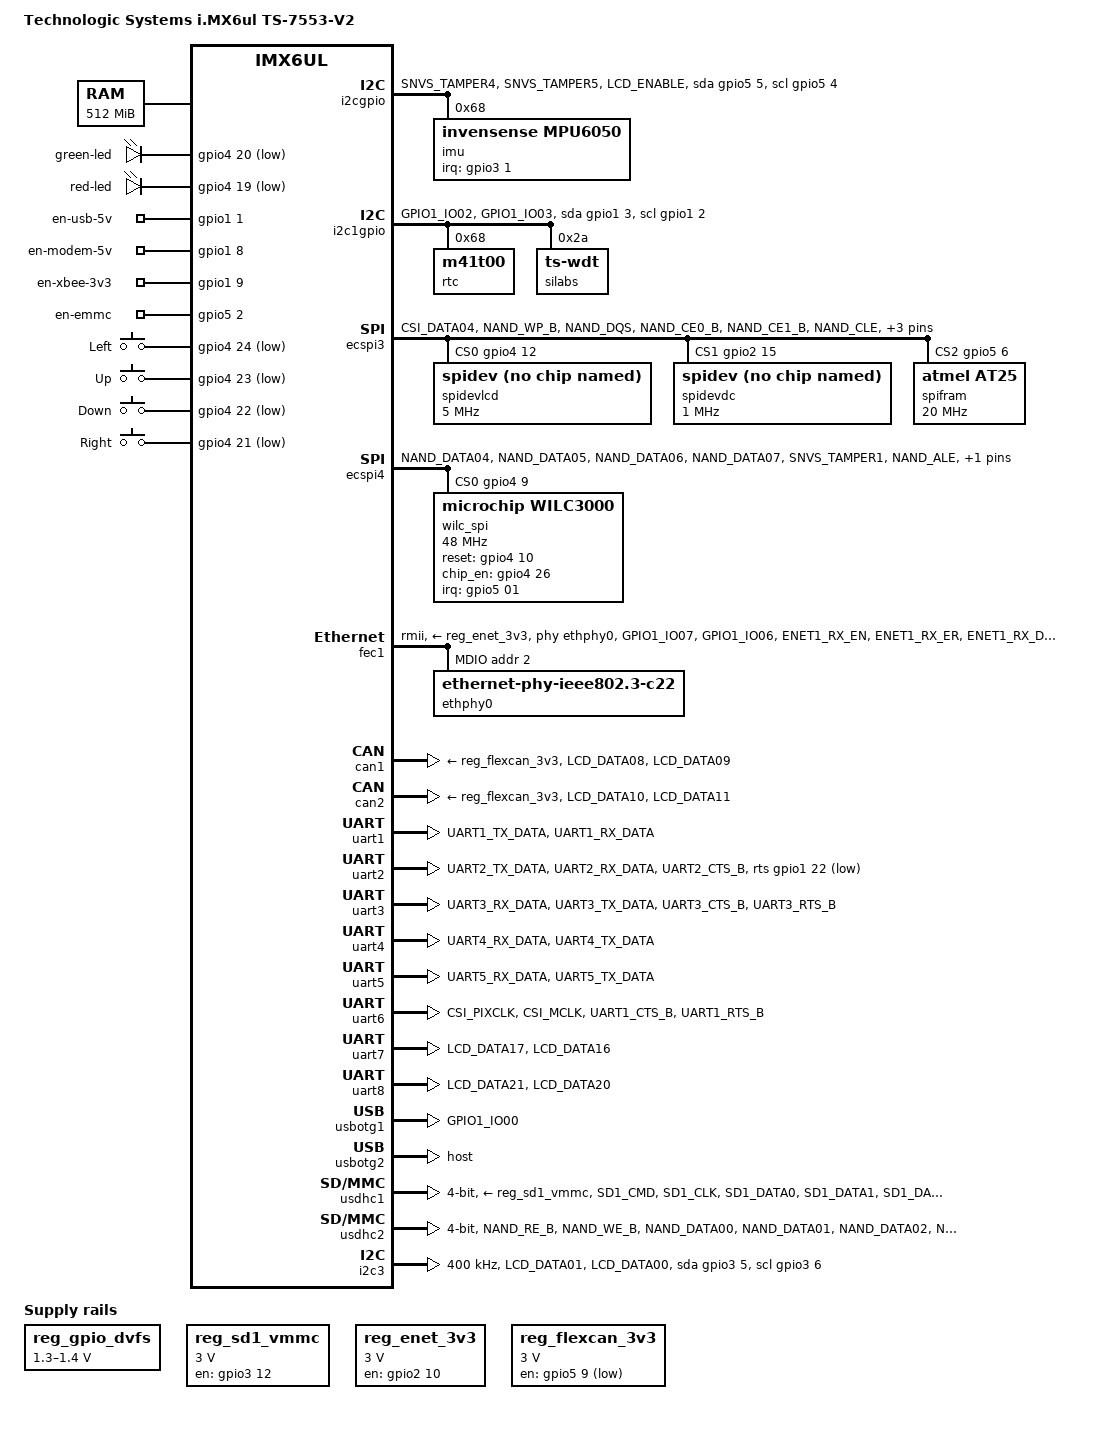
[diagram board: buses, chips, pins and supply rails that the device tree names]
/*
 * Copyright (C) 2017 Technologic Systems
 *
 * This program is free software; you can redistribute it and/or modify
 * it under the terms of the GNU General Public License version 2 as
 * published by the Free Software Foundation.
 */

/dts-v1/;
#include <dt-bindings/input/input.h>
#include "imx6ul.dtsi"

/ {
	model = "Technologic Systems i.MX6ul TS-7553-V2";
	compatible = "technologic,ts7553v2", "fsl,imx6ul";

	chosen {
		stdout-path = &uart1;
	};

	memory {
		reg = <0x80000000 0x20000000>;
	};

	leds {
		pinctrl-names = "default";
		pinctrl-0 = <&pinctrl_gpio_leds>;
		compatible = "gpio-leds";

		green-led {
			label = "green-led";
			gpios = <&gpio4 20 GPIO_ACTIVE_LOW>;
			default-state = "on";
		};

		red-led {
			label = "red-led";
			gpios = <&gpio4 19 GPIO_ACTIVE_LOW>;
			default-state = "off";
		};

		/* The following are meant to be userspace controlled IO. The
		 * kernel does not allow setting default state of GPIO, but
		 * the default state of LEDs can be set, which is why the LED
		 * subsystem is used.
		 */
		en-usb-5v {
			label = "en-usb-5v";
			gpios = <&gpio1 1 GPIO_ACTIVE_HIGH>;
			default-state = "on";
		};

		en-modem-5v {
			label = "en-modem-5v";
			gpios = <&gpio1 8 GPIO_ACTIVE_HIGH>;
			default-state = "off";
		};

		en-xbee-3v3 {
			label = "en-xbee-3v3";
			gpios = <&gpio1 9 GPIO_ACTIVE_HIGH>;
			default-state = "off";
		};

		en-emmc {
			label = "en-emmc";
			gpios = <&gpio5 2 GPIO_ACTIVE_HIGH>;
			default-state = "on";
		};
	};

	gpio-keys {
		compatible = "gpio-keys";

		left {
			label = "Left";
			gpios = <&gpio4 24 GPIO_ACTIVE_LOW>;
			linux,code = <KEY_LEFT>;
			debounce-interval = <20>;
			gpio-key,wakeup;
		};

		up {
			label = "Up";
			gpios = <&gpio4 23 GPIO_ACTIVE_LOW>;
			linux,code = <KEY_UP>;
			debounce-interval = <20>;
			gpio-key,wakeup;
		};
		down {
			label = "Down";
			gpios = <&gpio4 22 GPIO_ACTIVE_LOW>;
			linux,code = <KEY_DOWN>;
			debounce-interval = <20>;
			gpio-key,wakeup;
		};
		right {
			label = "Right";
			gpios = <&gpio4 21 GPIO_ACTIVE_LOW>;
			linux,code = <KEY_RIGHT>;
			debounce-interval = <20>;
			gpio-key,wakeup;
		};
	};

	reserved-memory {
		#address-cells = <1>;
		#size-cells = <1>;
		ranges;

		linux,cma {
			compatible = "shared-dma-pool";
			reusable;
			size = <0x14000000>;
			linux,cma-default;
		};
	};

	aliases {
		ethernet0 = &fec1;
		i2c3 = &i2cgpio;
		i2c0 = &i2c1gpio;
	};

	pxp_v4l2 {
		compatible = "fsl,imx6ul-pxp-v4l2", "fsl,imx6sx-pxp-v4l2", "fsl,imx6sl-pxp-v4l2";
		status = "disabled";
	};

	regulators {
		compatible = "simple-bus";
		#address-cells = <1>;
		#size-cells = <0>;

		reg_gpio_dvfs: regulator-gpio {
			compatible = "regulator-gpio";
			pinctrl-names = "default";
			pinctrl-0 = <&pinctrl_dvfs>;
			regulator-min-microvolt = <1300000>;
			regulator-max-microvolt = <1400000>;
			regulator-name = "gpio_dvfs";
			regulator-type = "voltage";
			gpios = <&gpio5 3 GPIO_ACTIVE_HIGH>;
			states = <1300000 0x1 1400000 0x0>;
		};

		reg_sd1_vmmc: sd1_vmmc {
			compatible = "regulator-fixed";
			regulator-name = "SD1_SPWR";
			regulator-min-microvolt = <3000000>;
			regulator-max-microvolt = <3000000>;
			gpio = <&gpio3 12 GPIO_ACTIVE_HIGH>;
			enable-active-high;
		};

		reg_enet_3v3: regulator-phy@0 {
			compatible = "regulator-fixed";
			pinctrl-names = "default";
			pinctrl-0 = <&pinctrl_enet_3v3>;
			regulator-name = "enet_3v3";
			regulator-min-microvolt = <3000000>;
			regulator-max-microvolt = <3000000>;
			gpio = <&gpio2 10 GPIO_ACTIVE_HIGH>;
			enable-active-high;
		};

		reg_flexcan_3v3: en-can@0 {
			compatible = "regulator-fixed";
			pinctrl-names = "default";
			pinctrl-0 = <&pinctrl_flexcan_3v3>;
			regulator-name = "en-can";
			regulator-min-microvolt = <3000000>;
			regulator-max-microvolt = <3000000>;
			gpio = <&gpio5 9 GPIO_ACTIVE_LOW>;
		};
	};

	i2cgpio: i2cgpio {
		compatible = "i2c-gpio";
		pinctrl-names = "default";
		pinctrl-0 = <&pinctrl_i2cgpio>;
		gpios = <&gpio5 5 GPIO_ACTIVE_HIGH>, /* sda */
			<&gpio5 4 GPIO_ACTIVE_HIGH>; /* scl */
		i2c-gpio,delay-us = <2>; /* 100khz*/
		#address-cells = <1>;
		#size-cells = <0>;
		status = "okay";

		imu: mpu9250a@68 {
			compatible = "invensense,mpu6050";
			reg = <0x68>;
			interrupt-parent = <&gpio3>;
			interrupts = <1 IRQ_TYPE_EDGE_RISING>;
		};

	};

	i2c1gpio: i2c1gpio {
		compatible = "i2c-gpio";
		pinctrl-names = "default";
		pinctrl-0 = <&pinctrl_i2c1_gpio>;
		gpios = <&gpio1 3 GPIO_ACTIVE_HIGH>, /* sda */
			<&gpio1 2 GPIO_ACTIVE_HIGH>; /* scl */
		#address-cells = <1>;
		#size-cells = <0>;

		status = "okay";

		rtc: m41t00s@68 {
			compatible = "m41t00";
			reg = <0x68>;
		};

		silabs: silabs@2a {
			compatible = "ts-wdt";
			reg = <0x2a>;
		};
	};
};

&cpu0 {
	arm-supply = <&reg_arm>;
	soc-supply = <&reg_soc>;
	dc-supply = <&reg_gpio_dvfs>;
};

&ecspi3 {
	fsl,spi-num-chipselects = <3>;
	cs-gpios = <&gpio4 12 0>, <&gpio2 15 0>, <&gpio5 6 0>;
	pinctrl-names = "default";
	pinctrl-0 = <&pinctrl_ecspi3>;
	status = "okay";

	spidevlcd: spi@0 {
		compatible = "spidev";
		reg = <0>;
		spi-max-frequency = <5000000>;
	};

	spidevdc: spi@1 {
		compatible = "spidev";
		reg = <1>;
		spi-max-frequency = <1000000>;
	};

	spifram: spi@2 {
		compatible = "atmel,at25", "cypress,fm25l16b";
		reg = <2>;
		spi-max-frequency = <20000000>;
		size = <0x800>;
		address-width = <16>;
		pagesize = <64>;
	};
};

&ecspi4 {
	fsl,spi-num-chipselects = <1>;
	cs-gpios = <&gpio4 9 0>;
	pinctrl-names = "default";
	pinctrl-0 = <&pinctrl_ecspi4>;
	status = "okay";

	wilc_spi@0 {
		compatible = "microchip,wilc3000";
		reg = <0>;
		spi-max-frequency = <48000000>;
		reset-gpios = <&gpio4 10 0>;     /* RESET,  GPIO 106 */
		chip_en-gpios = <&gpio4 26 0>;   /* ENABLE, GPIO 122 */
		irq-gpios = <&gpio5 01 0>;       /* IRQ,    GPIO 129 */
		status = "okay";
	};
};

&fec1 {
	pinctrl-names = "default";
	pinctrl-0 = <&pinctrl_enet>;
	phy-mode = "rmii";
	phy-handle = <&ethphy0>;
	phy-supply = <&reg_enet_3v3>;
	phy-reset-gpios = <&gpio1 4 GPIO_ACTIVE_LOW>;
	phy-reset-duration = <10>; 
	status = "okay";
	mdio {
		#address-cells = <1>;
		#size-cells = <0>;

		ethphy0: ethernet-phy@1 {
			compatible = "ethernet-phy-ieee802.3-c22";
			reg = <2>;
		};
	};
};

&can1 {
	pinctrl-names = "default";
	pinctrl-0 = <&pinctrl_flexcan1>;
	xceiver-supply = <&reg_flexcan_3v3>;
	status = "okay";
};

&can2 {
	pinctrl-names = "default";
	pinctrl-0 = <&pinctrl_flexcan2>;
	xceiver-supply = <&reg_flexcan_3v3>;
	status = "okay";
};

&gpc {
	fsl,cpu_pupscr_sw2iso = <0x1>;
	fsl,cpu_pupscr_sw = <0x0>;
	fsl,cpu_pdnscr_iso2sw = <0x1>;
	fsl,cpu_pdnscr_iso = <0x1>;
	fsl,ldo-bypass = <0>; /* DCDC, ldo-enable */
};

&uart1 {
	pinctrl-names = "default";
	pinctrl-0 = <&pinctrl_uart1>;
	status = "okay";
};

&uart2 {
	pinctrl-names = "default";
	pinctrl-0 = <&pinctrl_uart2>;
	status = "okay";

	uart-has-rtscts;
	rts-gpios = <&gpio1 22 GPIO_ACTIVE_LOW>;
	linux,rs485-enabled-at-boot-time;
};

&uart3 {
	pinctrl-names = "default";
	pinctrl-0 = <&pinctrl_uart3>;
	status = "okay";
	fsl,uart-has-rtscts;
};

&uart4 {
	pinctrl-names = "default";
	pinctrl-0 = <&pinctrl_uart4>;
	status = "okay";
};

&uart5 {
	pinctrl-names = "default";
	pinctrl-0 = <&pinctrl_uart5>;
	status = "okay";
};

&uart6 {
	pinctrl-names = "default";
	pinctrl-0 = <&pinctrl_uart6>;
	status = "okay";
};

&uart7 {
	pinctrl-names = "default";
	pinctrl-0 = <&pinctrl_uart7>;
	status = "okay";
};

&uart8 {
	pinctrl-names = "default";
	pinctrl-0 = <&pinctrl_uart8>;
	status = "okay";
};

&usbotg1 {
	/* Use dr_mode = "device" ?*/
	pinctrl-names = "default";
	pinctrl-0 = <&pinctrl_usb_otg1_id>;
	srp-disable;
	hnp-disable;
	adp-disable;
	status = "okay";
};

&usbotg2 {
	dr_mode = "host";
	disable-over-current;
	status = "okay";
};

&usdhc1 {
	pinctrl-names = "default", "state_100mhz", "state_200mhz";
	pinctrl-0 = <&pinctrl_usdhc1>;
	pinctrl-1 = <&pinctrl_usdhc1_100mhz>;
	pinctrl-2 = <&pinctrl_usdhc1_200mhz>;
	keep-power-in-suspend;
	enable-sdio-wakeup;
	disable-wp;
	broken-cd = <1>;
	bus-width = <4>;
	vmmc-supply = <&reg_sd1_vmmc>;
	status = "okay";
};

&usdhc2 {
	pinctrl-names = "default";
	pinctrl-0 = <&pinctrl_usdhc2>;
	no-1-8-v;
	disable-wp;
	broken-cd = <1>;
	bus-width = <4>;
	status = "okay";
};


&i2c3 {
	clock-frequency = <400000>;
	pinctrl-names = "default", "gpio";
	pinctrl-0 = <&pinctrl_i2c3>;
	pinctrl-1 = <&pinctrl_i2c3_gpio>;
	status = "okay";
	scl-gpios = <&gpio3 6 GPIO_ACTIVE_HIGH>;
	sda-gpios = <&gpio3 5 GPIO_ACTIVE_HIGH>;
};

&snvs_rtc {
	status = "disabled";
};

// WDT is in the uC, but we need to explicitly disable CPU WDT
&wdog1 {
       status = "disabled";
};




&iomuxc {
	pinctrl-names = "default";
	pinctrl-0 = <&pinctrl_hog>;
	imx6ul-ts7180 {
		pinctrl_hog: hoggrp {
			fsl,pins = <
				/* All GPIO should be 0x1b020 unless special
				 * 0x1b020 == Hyst., 100k PU, 50 mA drive
				 * 0x1a020 == no pull resistor
				 * 0x13020 == 100k PD
				 */
				MX6UL_PAD_JTAG_TCK__GPIO1_IO14       0x1b020
				MX6UL_PAD_JTAG_TDI__GPIO1_IO13       0x1b020
				MX6UL_PAD_JTAG_TDO__GPIO1_IO12       0x1b020
				MX6UL_PAD_JTAG_TMS__GPIO1_IO11       0x1b020
				MX6UL_PAD_JTAG_TRST_B__GPIO1_IO15    0x1b020
				/* KEYPAD_0 */
				MX6UL_PAD_CSI_DATA00__GPIO4_IO21     0x1a020
				/* KEYPAD_1 */
				MX6UL_PAD_CSI_DATA01__GPIO4_IO22     0x1a020
				/* KEYPAD_2 */
				MX6UL_PAD_CSI_DATA02__GPIO4_IO23     0x1a020
				/* KEYPAD_3 */
				MX6UL_PAD_CSI_DATA03__GPIO4_IO24     0x1a020
				/* EN_232_TRANS */
				MX6UL_PAD_UART2_RTS_B__GPIO1_IO23    0x1b020
				/* DETECT_9471 */
				MX6UL_PAD_CSI_DATA07__GPIO4_IO28     0x13020
				/* POWER_FAIL */
				MX6UL_PAD_SNVS_TAMPER0__GPIO5_IO00   0x1b020
				/* EN_XBEE_USB# */
				MX6UL_PAD_SNVS_TAMPER7__GPIO5_IO07   0x1b020
				/* EN_RELAY */
				MX6UL_PAD_SNVS_TAMPER8__GPIO5_IO08   0x1a020
				/* XBEE_DIO_8 */
				MX6UL_PAD_ENET2_TX_CLK__GPIO2_IO14   0x1b020
				/* XBEE_DIO_7 */
				MX6UL_PAD_ENET2_RX_DATA0__GPIO2_IO08 0x1b020
				/* XBEE_DIO_6 */
				MX6UL_PAD_ENET2_RX_DATA1__GPIO2_IO09 0x1b020
				/* USB Hhub 24MHz */
				MX6UL_PAD_ENET2_TX_DATA0__REF_CLK_24M 0x1b020
				/* SILAB_C2_RESET */
				MX6UL_PAD_ENET2_TX_DATA1__GPIO2_IO12 0x1a020
				/* FORCE_REG_PWM_MODE */
				MX6UL_PAD_ENET2_TX_EN__GPIO2_IO13    0x1b020
				/* 6UL_TO_USB_DEV */
				MX6UL_PAD_LCD_DATA02__GPIO3_IO07     0x1a020
				/* 6UL_FORCE_5V_ON */
				MX6UL_PAD_LCD_DATA03__GPIO3_IO08     0x1a020
				/* SILAB_C2_CLK */
				MX6UL_PAD_LCD_DATA04__GPIO3_IO09     0x1a020
				/* SILAB_CS_DATA# */
				MX6UL_PAD_LCD_DATA05__GPIO3_IO10     0x1a020
				/* NO_CHRG_JMP# */
				MX6UL_PAD_LCD_DATA06__GPIO3_IO11     0x1a020
				/* SD_BOOT_JMP# */
				MX6UL_PAD_LCD_DATA12__GPIO3_IO17     0x1a020
				/* PUSH_SW_CPU# */
				MX6UL_PAD_LCD_DATA13__GPIO3_IO18     0x1b020
				/* U_BOOT_JMP#_ */
				MX6UL_PAD_LCD_DATA14__GPIO3_IO19     0x1a020
				/* XBEE_RESET# */
				MX6UL_PAD_LCD_DATA15__GPIO3_IO20     0x1b020
				/* USB_HUB_RESET */
				MX6UL_PAD_LCD_CLK__GPIO3_IO00        0x1b020
				/* RES_STRAP_0 */
				MX6UL_PAD_LCD_DATA18__GPIO3_IO23     0x1b020
				/* RES_STRAP_1 */
				MX6UL_PAD_LCD_DATA19__GPIO3_IO24     0x1b020
				/* RES_STRAP_2 */
				MX6UL_PAD_LCD_DATA22__GPIO3_IO27     0x1b020
				/* RES_STRAP_3 */
				MX6UL_PAD_LCD_DATA23__GPIO3_IO28     0x1b020
			>;
		};

		pinctrl_gpio_leds: gpioledgrp {
			fsl,pins = <
				/* Red LED */
				MX6UL_PAD_CSI_VSYNC__GPIO4_IO19      0x1b020
				/* Green LED */
				MX6UL_PAD_CSI_HSYNC__GPIO4_IO20      0x1b020
				/* USB 5 v */
				MX6UL_PAD_GPIO1_IO01__GPIO1_IO01     0x1b020
				/* MODEM 5 v */
				MX6UL_PAD_GPIO1_IO08__GPIO1_IO08     0x1b020
				/* XBee 3.3 v */
				MX6UL_PAD_GPIO1_IO09__GPIO1_IO09     0x1b020
				/* eMMC En. */
				MX6UL_PAD_SNVS_TAMPER2__GPIO5_IO02   0x1b020
			>;
		};

		pinctrl_usb_otg1_id: usbotg1idgrp {
			/* Wired always high for device mode on TS-7553-V2 */
			fsl,pins = <
				MX6UL_PAD_GPIO1_IO00__ANATOP_OTG1_ID	0x16059
			>;
		};

		pinctrl_flexcan1: flexcan1grp{
			fsl,pins = <
				MX6UL_PAD_LCD_DATA08__FLEXCAN1_TX	0x1b020
				MX6UL_PAD_LCD_DATA09__FLEXCAN1_RX	0x1b020
			>;
		};

		pinctrl_flexcan2: flexcan2grp{
			fsl,pins = <
				MX6UL_PAD_LCD_DATA10__FLEXCAN2_TX 	0x1b020
				MX6UL_PAD_LCD_DATA11__FLEXCAN2_RX	0x1b020
			>;
		};

		pinctrl_flexcan_3v3: flexcan3v3grp {
			fsl,pins = <
				/* CAN En. */
				MX6UL_PAD_SNVS_TAMPER9__GPIO5_IO09   0x1b020
			>;
		};

		pinctrl_uart1: uart1grp {
			fsl,pins = <
				MX6UL_PAD_UART1_TX_DATA__UART1_DCE_TX 0x1b0b1
				MX6UL_PAD_UART1_RX_DATA__UART1_DCE_RX 0x1b0b1
			>;
		};

		pinctrl_uart2: uart2grp {
			fsl,pins = <
				MX6UL_PAD_UART2_TX_DATA__UART2_DCE_TX	0x1b0b1
				MX6UL_PAD_UART2_RX_DATA__UART2_DCE_RX	0x1b0b1
				MX6UL_PAD_UART2_CTS_B__GPIO1_IO22	0x1b0b1
			>;
		};

		pinctrl_uart3: uart3grp {
			fsl,pins = <
				MX6UL_PAD_UART3_RX_DATA__UART3_DCE_RX	0x1b0b1
				MX6UL_PAD_UART3_TX_DATA__UART3_DCE_TX	0x1b0b1
				MX6UL_PAD_UART3_CTS_B__UART3_DCE_CTS	0x1b0b1
				MX6UL_PAD_UART3_RTS_B__UART3_DCE_RTS	0x1b0b1
			>;
		};

		pinctrl_uart4: uart4grp {
			fsl,pins = <
				MX6UL_PAD_UART4_RX_DATA__UART4_DCE_RX	0x1b0b1
				MX6UL_PAD_UART4_TX_DATA__UART4_DCE_TX	0x1b0b1
			>;
		};

		pinctrl_uart5: uart5grp {
			fsl,pins = <
				MX6UL_PAD_UART5_RX_DATA__UART5_DCE_RX	0x1b0b1
				MX6UL_PAD_UART5_TX_DATA__UART5_DCE_TX	0x1b0b1
			>;
		};

		pinctrl_uart6: uart6grp {
			fsl,pins = <
				MX6UL_PAD_CSI_PIXCLK__UART6_DCE_RX	0x1b0b1
				MX6UL_PAD_CSI_MCLK__UART6_DCE_TX	0x1b0b1
				MX6UL_PAD_UART1_CTS_B__GPIO1_IO18	0x1b0b1
				MX6UL_PAD_UART1_RTS_B__GPIO1_IO19	0x1b0b1
			>;
		};

		pinctrl_uart7: uart7grp {
			fsl,pins = <
				MX6UL_PAD_LCD_DATA17__UART7_DCE_RX	0x1b0b1
				MX6UL_PAD_LCD_DATA16__UART7_DCE_TX	0x1b0b1
			>;
		};

		pinctrl_uart8: uart8grp {
			fsl,pins = <
				MX6UL_PAD_LCD_DATA21__UART8_DCE_RX	0x1b0b1
				MX6UL_PAD_LCD_DATA20__UART8_DCE_TX	0x1b0b1
			>;
		};

		pinctrl_enet: enetgrp {
			fsl,pins = <
				MX6UL_PAD_GPIO1_IO07__ENET1_MDC         0x1b0b0
				MX6UL_PAD_GPIO1_IO06__ENET1_MDIO        0x1b0b0
				MX6UL_PAD_ENET1_RX_EN__ENET1_RX_EN	0x1b0b0
				MX6UL_PAD_ENET1_RX_ER__ENET1_RX_ER	0x1b0b0
				MX6UL_PAD_ENET1_RX_DATA0__ENET1_RDATA00	0x1b0b0
				MX6UL_PAD_ENET1_RX_DATA1__ENET1_RDATA01	0x1b0b0
				MX6UL_PAD_ENET1_TX_EN__ENET1_TX_EN	0x1b0b0
				MX6UL_PAD_ENET1_TX_DATA0__ENET1_TDATA00	0x1b0b0
				MX6UL_PAD_ENET1_TX_DATA1__ENET1_TDATA01	0x1b0b0
				MX6UL_PAD_ENET1_TX_CLK__ENET1_REF_CLK1 0x4001b031
			>;
		};

		pinctrl_enet_3v3: enet3v3grp {
			fsl,pins = <
				MX6UL_PAD_ENET2_RX_EN__GPIO2_IO10     0x1b0b0
			>;
		};

		pinctrl_i2c1: i2c1grp {
			fsl,pins = <
				MX6UL_PAD_GPIO1_IO02__I2C1_SCL        0x4001a8b0
				MX6UL_PAD_GPIO1_IO03__I2C1_SDA        0x4001a8b0
			>;
		};

		pinctrl_i2c1_gpio: i2c1grpgpio {
			fsl,pins = <
				MX6UL_PAD_GPIO1_IO02__GPIO1_IO02      0x4001a8b0
				MX6UL_PAD_GPIO1_IO03__GPIO1_IO03      0x4001a8b0
			>;
		};

		pinctrl_i2c3: i2c3grp {
			fsl,pins = <
				MX6UL_PAD_LCD_DATA01__I2C3_SCL        0x4001a8b0
				MX6UL_PAD_LCD_DATA00__I2C3_SDA        0x4001a8b0
			>;
		};

		pinctrl_i2c3_gpio: i2c3grpgpio {
			fsl,pins = <
				MX6UL_PAD_LCD_DATA01__GPIO3_IO06      0x4001a8b0
				MX6UL_PAD_LCD_DATA00__GPIO3_IO05      0x4001a8b0
			>;
		};

		pinctrl_i2cgpio: i2cgrpgpio {
			fsl,pins = <
				MX6UL_PAD_SNVS_TAMPER4__GPIO5_IO04    0x4001a8b0
				MX6UL_PAD_SNVS_TAMPER5__GPIO5_IO05    0x4001a8b0
				/* IMU interrupt */
				MX6UL_PAD_LCD_ENABLE__GPIO3_IO01      0x13020
			>;
		};

		pinctrl_usdhc1: usdhc1grp {
			fsl,pins = <
				MX6UL_PAD_SD1_CMD__USDHC1_CMD        0x17059
				MX6UL_PAD_SD1_CLK__USDHC1_CLK        0x10071
				MX6UL_PAD_SD1_DATA0__USDHC1_DATA0    0x17059
				MX6UL_PAD_SD1_DATA1__USDHC1_DATA1    0x17059
				MX6UL_PAD_SD1_DATA2__USDHC1_DATA2    0x17059
				MX6UL_PAD_SD1_DATA3__USDHC1_DATA3    0x17059
				/* EN_SD_POWER */
				MX6UL_PAD_LCD_DATA07__GPIO3_IO12     0x17059
				/* SD1 VSELECT */
				MX6UL_PAD_GPIO1_IO05__USDHC1_VSELECT 0x17059
			>;
		};

		pinctrl_usdhc1_100mhz: usdhc1grp100mhz {
			fsl,pins = <
				MX6UL_PAD_SD1_CMD__USDHC1_CMD     0x170b9
				MX6UL_PAD_SD1_CLK__USDHC1_CLK     0x100b9
				MX6UL_PAD_SD1_DATA0__USDHC1_DATA0 0x170b9
				MX6UL_PAD_SD1_DATA1__USDHC1_DATA1 0x170b9
				MX6UL_PAD_SD1_DATA2__USDHC1_DATA2 0x170b9
				MX6UL_PAD_SD1_DATA3__USDHC1_DATA3 0x170b9
			>;
		};

		pinctrl_usdhc1_200mhz: usdhc1grp200mhz {
			fsl,pins = <
				MX6UL_PAD_SD1_CMD__USDHC1_CMD     0x170f9
				MX6UL_PAD_SD1_CLK__USDHC1_CLK     0x100f9
				MX6UL_PAD_SD1_DATA0__USDHC1_DATA0 0x170f9
				MX6UL_PAD_SD1_DATA1__USDHC1_DATA1 0x170f9
				MX6UL_PAD_SD1_DATA2__USDHC1_DATA2 0x170f9
				MX6UL_PAD_SD1_DATA3__USDHC1_DATA3 0x170f9
			>;
		};

		pinctrl_usdhc2: usdhc2grp {
			fsl,pins = <
				MX6UL_PAD_NAND_RE_B__USDHC2_CLK     0x10069
				MX6UL_PAD_NAND_WE_B__USDHC2_CMD     0x17059
				MX6UL_PAD_NAND_DATA00__USDHC2_DATA0 0x17059
				MX6UL_PAD_NAND_DATA01__USDHC2_DATA1 0x17059
				MX6UL_PAD_NAND_DATA02__USDHC2_DATA2 0x17059
				MX6UL_PAD_NAND_DATA03__USDHC2_DATA3 0x17059
			>;
		};

		pinctrl_ecspi3: ecspi3grp {
			fsl,pins = <
				/* EN_LCD_BK_LT (gpio121) */
				MX6UL_PAD_CSI_DATA04__GPIO4_IO25   0x1b020 
				/* LCD_RESET#   (gpio107) */
				MX6UL_PAD_NAND_WP_B__GPIO4_IO11    0x1b020 
				/* LCD_CMD#     (gpio112) */
				MX6UL_PAD_NAND_DQS__GPIO4_IO16     0x1b020 

				/* SPI_3_CLK */
				MX6UL_PAD_NAND_CE0_B__ECSPI3_SCLK  0x1b020 
				/* SPI_3_MOSI */
				MX6UL_PAD_NAND_CE1_B__ECSPI3_MOSI  0x1b020 
				/* SPI_3_MISO */
				MX6UL_PAD_NAND_CLE__ECSPI3_MISO	   0x1b820 
				/* HD1_SPI_CS# CS1 */
				MX6UL_PAD_ENET2_RX_ER__GPIO2_IO15  0x1b020 
				/* SPI_3_LCD_CS# CS0 */
				MX6UL_PAD_NAND_READY_B__GPIO4_IO12 0x1b020 
				/* FRAM_SPI_CS# CS2 */
				MX6UL_PAD_SNVS_TAMPER6__GPIO5_IO06 0x1b020
				
			>;
		};

		pinctrl_ecspi4: ecspi4grp {
			fsl,pins = <
				MX6UL_PAD_NAND_DATA04__ECSPI4_SCLK  0x1b020
				MX6UL_PAD_NAND_DATA05__ECSPI4_MOSI  0x1b020
				MX6UL_PAD_NAND_DATA06__ECSPI4_MISO  0x1b020
				/* WIFI CS# */
				MX6UL_PAD_NAND_DATA07__GPIO4_IO09   0x1b020
				/* WIFI_IRQ# */
				MX6UL_PAD_SNVS_TAMPER1__GPIO5_IO01  0x1b020
				/* WIFI_RESET# */
				MX6UL_PAD_NAND_ALE__GPIO4_IO10      0x1b020
				/* CHIP_EN (EN_WIFI_PWR) */
				MX6UL_PAD_CSI_DATA05__GPIO4_IO26    0x1b020
			>;
		};

		pinctrl_dvfs: dvfsgrp {
			fsl,pins = <
				MX6UL_PAD_SNVS_TAMPER3__GPIO5_IO03  0x1b0a0
			>;
		};
	};
};
